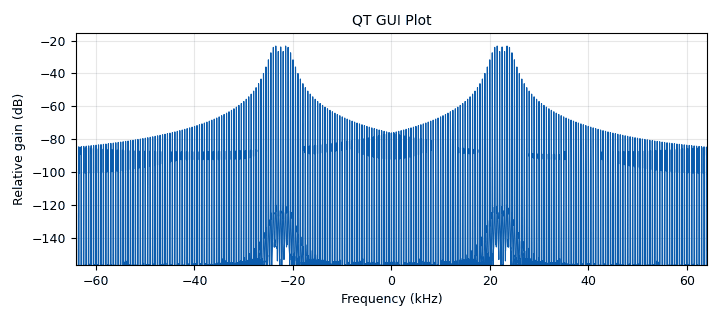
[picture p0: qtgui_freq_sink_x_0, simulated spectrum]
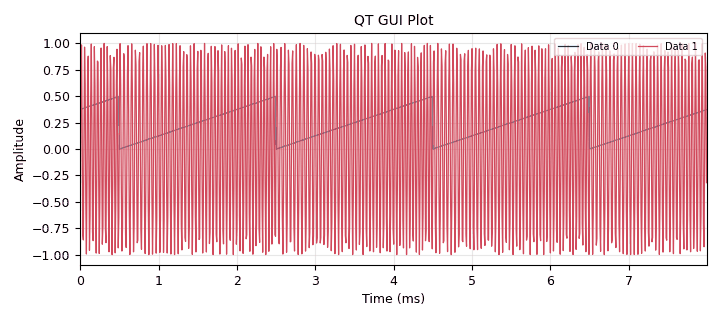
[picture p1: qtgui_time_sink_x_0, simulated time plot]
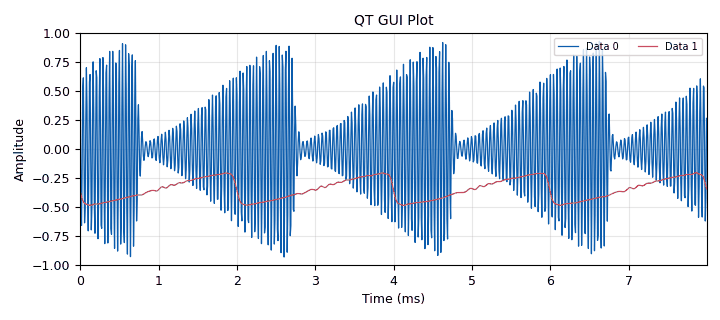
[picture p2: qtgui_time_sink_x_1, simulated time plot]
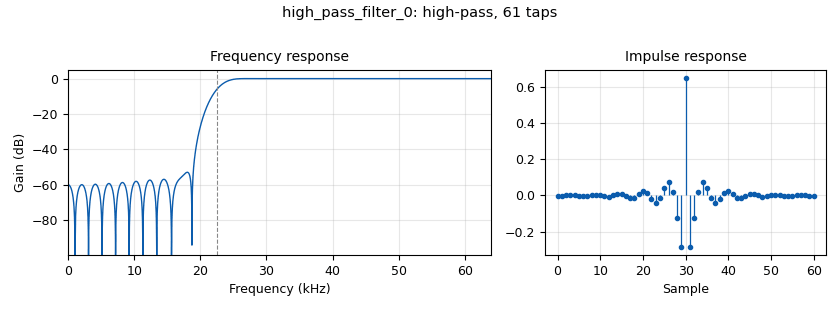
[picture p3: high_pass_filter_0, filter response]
<?xml version='1.0' encoding='utf-8'?>
<?grc format='1' created='3.7.9'?>
<flow_graph>
<block>
<key>options</key>
<param><key>id</key><value>top_block</value></param>
<param><key>category</key><value>Custom</value></param>
<param><key>generate_options</key><value>qt_gui</value></param>
</block>
<block>
<key>variable_qtgui_range</key>
<param><key>id</key><value>A</value></param>
<param><key>value</key><value>0.5</value></param>
<param><key>label</key><value>amplitude</value></param>
<param><key>orient</key><value>Qt.Horizontal</value></param>
<param><key>start</key><value>0</value></param>
<param><key>step</key><value>0.1</value></param>
<param><key>stop</key><value>1</value></param>
</block>
<block>
<key>variable_qtgui_range</key>
<param><key>id</key><value>F</value></param>
<param><key>value</key><value>500</value></param>
<param><key>label</key><value>frequencia</value></param>
<param><key>orient</key><value>Qt.Horizontal</value></param>
<param><key>start</key><value>0</value></param>
<param><key>step</key><value>50</value></param>
<param><key>stop</key><value>1000</value></param>
</block>
<block>
<key>variable_qtgui_range</key>
<param><key>id</key><value>Fp</value></param>
<param><key>value</key><value>20000</value></param>
<param><key>label</key><value>frequencia da portadora</value></param>
<param><key>orient</key><value>Qt.Horizontal</value></param>
<param><key>start</key><value>10000</value></param>
<param><key>step</key><value>500</value></param>
<param><key>stop</key><value>30000</value></param>
</block>
<block>
<key>variable</key>
<param><key>id</key><value>samp_rate</value></param>
<param><key>value</key><value>4*32000</value></param>
</block>
<block>
<key>analog_am_demod_cf</key>
<param><key>id</key><value>analog_am_demod_cf_0</value></param>
<param><key>audio_decim</key><value>1</value></param>
<param><key>audio_pass</key><value>5000*2</value></param>
<param><key>audio_stop</key><value>5500*2</value></param>
<param><key>chan_rate</key><value>samp_rate</value></param>
</block>
<block>
<key>analog_sig_source_x</key>
<param><key>id</key><value>analog_sig_source_x_0</value></param>
<param><key>amp</key><value>A</value></param>
<param><key>freq</key><value>F</value></param>
<param><key>offset</key><value>0</value></param>
<param><key>type</key><value>float</value></param>
<param><key>samp_rate</key><value>samp_rate</value></param>
<param><key>waveform</key><value>analog.GR_SAW_WAVE</value></param>
</block>
<block>
<key>blocks_add_const_vxx</key>
<param><key>id</key><value>blocks_add_const_vxx_0</value></param>
<param><key>const</key><value>Fp/10000.0</value></param>
<param><key>type</key><value>float</value></param>
</block>
<block>
<key>blocks_float_to_complex</key>
<param><key>id</key><value>blocks_float_to_complex_0</value></param>
</block>
<block>
<key>blocks_throttle</key>
<param><key>id</key><value>blocks_throttle_0</value></param>
<param><key>samples_per_second</key><value>samp_rate</value></param>
<param><key>type</key><value>float</value></param>
</block>
<block>
<key>blocks_vco_f</key>
<param><key>id</key><value>blocks_vco_f_0</value></param>
<param><key>amplitude</key><value>1</value></param>
<param><key>samp_rate</key><value>samp_rate</value></param>
<param><key>sensitivity</key><value>6.28*10**4</value></param>
</block>
<block>
<key>high_pass_filter</key>
<param><key>id</key><value>high_pass_filter_0</value></param>
<param><key>cutoff_freq</key><value>22500</value></param>
<param><key>decim</key><value>1</value></param>
<param><key>type</key><value>fir_filter_fff</value></param>
<param><key>gain</key><value>1</value></param>
<param><key>samp_rate</key><value>samp_rate</value></param>
<param><key>width</key><value>5000</value></param>
<param><key>win</key><value>firdes.WIN_HAMMING</value></param>
</block>
<block>
<key>qtgui_freq_sink_x</key>
<param><key>id</key><value>qtgui_freq_sink_x_0</value></param>
<param><key>autoscale</key><value>True</value></param>
<param><key>bw</key><value>samp_rate</value></param>
<param><key>fc</key><value>0</value></param>
<param><key>fftsize</key><value>1024*13</value></param>
<param><key>grid</key><value>True</value></param>
<param><key>name</key><value>QT GUI Plot</value></param>
<param><key>showports</key><value>True</value></param>
<param><key>type</key><value>float</value></param>
<param><key>wintype</key><value>firdes.WIN_BLACKMAN_hARRIS</value></param>
</block>
<block>
<key>qtgui_time_sink_x</key>
<param><key>id</key><value>qtgui_time_sink_x_0</value></param>
<param><key>autoscale</key><value>True</value></param>
<param><key>grid</key><value>True</value></param>
<param><key>color1</key><value>"blue"</value></param>
<param><key>label1</key><value></value></param>
<param><key>color2</key><value>"red"</value></param>
<param><key>label2</key><value></value></param>
<param><key>name</key><value>QT GUI Plot</value></param>
<param><key>nconnections</key><value>2</value></param>
<param><key>size</key><value>1024</value></param>
<param><key>srate</key><value>samp_rate</value></param>
<param><key>type</key><value>float</value></param>
<param><key>yunit</key><value>V</value></param>
</block>
<block>
<key>qtgui_time_sink_x</key>
<param><key>id</key><value>qtgui_time_sink_x_1</value></param>
<param><key>color1</key><value>"blue"</value></param>
<param><key>label1</key><value></value></param>
<param><key>color2</key><value>"red"</value></param>
<param><key>label2</key><value></value></param>
<param><key>name</key><value>QT GUI Plot</value></param>
<param><key>nconnections</key><value>2</value></param>
<param><key>size</key><value>1024</value></param>
<param><key>srate</key><value>samp_rate</value></param>
<param><key>type</key><value>float</value></param>
</block>
<connection><source_block_id>analog_am_demod_cf_0</source_block_id><sink_block_id>qtgui_time_sink_x_1</sink_block_id><source_key>0</source_key><sink_key>1</sink_key></connection>
<connection><source_block_id>analog_sig_source_x_0</source_block_id><sink_block_id>blocks_throttle_0</sink_block_id><source_key>0</source_key><sink_key>0</sink_key></connection>
<connection><source_block_id>blocks_add_const_vxx_0</source_block_id><sink_block_id>blocks_vco_f_0</sink_block_id><source_key>0</source_key><sink_key>0</sink_key></connection>
<connection><source_block_id>blocks_float_to_complex_0</source_block_id><sink_block_id>analog_am_demod_cf_0</sink_block_id><source_key>0</source_key><sink_key>0</sink_key></connection>
<connection><source_block_id>blocks_throttle_0</source_block_id><sink_block_id>blocks_add_const_vxx_0</sink_block_id><source_key>0</source_key><sink_key>0</sink_key></connection>
<connection><source_block_id>blocks_throttle_0</source_block_id><sink_block_id>qtgui_time_sink_x_0</sink_block_id><source_key>0</source_key><sink_key>0</sink_key></connection>
<connection><source_block_id>blocks_vco_f_0</source_block_id><sink_block_id>high_pass_filter_0</sink_block_id><source_key>0</source_key><sink_key>0</sink_key></connection>
<connection><source_block_id>blocks_vco_f_0</source_block_id><sink_block_id>qtgui_freq_sink_x_0</sink_block_id><source_key>0</source_key><sink_key>0</sink_key></connection>
<connection><source_block_id>blocks_vco_f_0</source_block_id><sink_block_id>qtgui_time_sink_x_0</sink_block_id><source_key>0</source_key><sink_key>1</sink_key></connection>
<connection><source_block_id>high_pass_filter_0</source_block_id><sink_block_id>blocks_float_to_complex_0</sink_block_id><source_key>0</source_key><sink_key>0</sink_key></connection>
<connection><source_block_id>high_pass_filter_0</source_block_id><sink_block_id>qtgui_time_sink_x_1</sink_block_id><source_key>0</source_key><sink_key>0</sink_key></connection>
</flow_graph>
